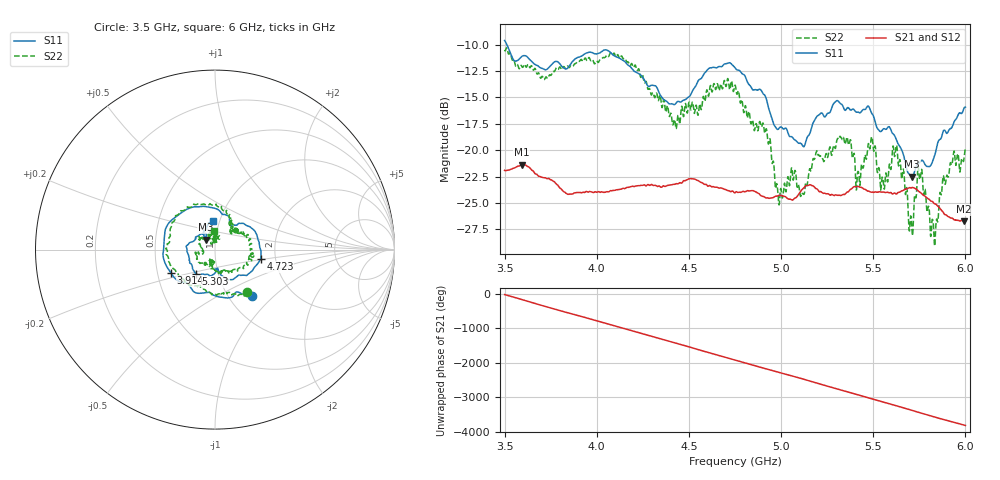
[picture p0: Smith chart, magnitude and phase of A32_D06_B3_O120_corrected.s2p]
! Created with skrf 1.9.0 (http://scikit-rf.org).
# Hz S RI R 50.0
!freq ReS11 ImS11 ReS21 ImS21 ReS12 ImS12 ReS22 ImS22
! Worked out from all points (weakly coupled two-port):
!   1601 points, 3.5 GHz to 6 GHz, reference 50 ohm
!   highest |S21| = -21.36 dB at 3.594 GHz (marker M1); lowest = -26.7 dB at 5.994 GHz (marker M2)
!   lowest |S11| = -22.5 dB at 5.711 GHz (marker M3), VSWR 1.16, Z = 45 + j5.06 ohm
!   |S11| at or under -10 dB: 3.512 GHz to end of sweep
!   |S22| runs from -29.1 to -10.3 dB; largest |S21 - S12| = 0.00098
!   S11 on the Smith chart (normalised r, x): 3.5 GHz: 1.28, -0.74; 3.914 GHz: 0.59, -0.16; 4.723 GHz: 1.67, -0.19; 5.303 GHz: 0.78, -0.22; 6 GHz: 0.93, +0.30
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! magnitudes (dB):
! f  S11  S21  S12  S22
! 3.5 GHz  -9.6  -21.9  -21.9  -10.5
! 3.594 GHz  -11.1  -21.4  -21.4  -12.1
! 3.914 GHz  -11.1  -24.0  -24.0  -11.4
! 3.917 GHz  -11.1  -24.0  -24.0  -11.4
! 4.334 GHz  -14.4  -23.4  -23.3  -15.3
! 4.422 GHz  -15.7  -23.2  -23.2  -17.1
! 4.723 GHz  -11.7  -23.9  -23.8  -14.2
! 4.75 GHz  -12.2  -24.0  -23.9  -13.8
! 4.912 GHz  -14.8  -24.5  -24.4  -18.4
! 4.995 GHz  -17.8  -24.3  -24.2  -23.8
! 5.167 GHz  -17.7  -23.4  -23.3  -21.5
! 5.303 GHz  -15.3  -24.3  -24.2  -19.0
! 5.417 GHz  -16.4  -23.4  -23.5  -22.0
! 5.484 GHz  -16.2  -23.9  -23.9  -19.6
! 5.584 GHz  -17.8  -24.0  -24.0  -21.8
! 5.619 GHz  -18.7  -24.1  -24.1  -20.4
! 5.711 GHz  -22.5  -23.5  -23.5  -27.8
! 5.753 GHz  -21.1  -24.0  -23.9  -22.8
! 5.839 GHz  -20.1  -25.1  -25.0  -27.5
! 5.873 GHz  -18.6  -25.8  -25.7  -23.5
! 5.994 GHz  -16.0  -26.7  -26.6  -20.6
! 6 GHz  -15.9  -26.7  -26.6  -19.8
